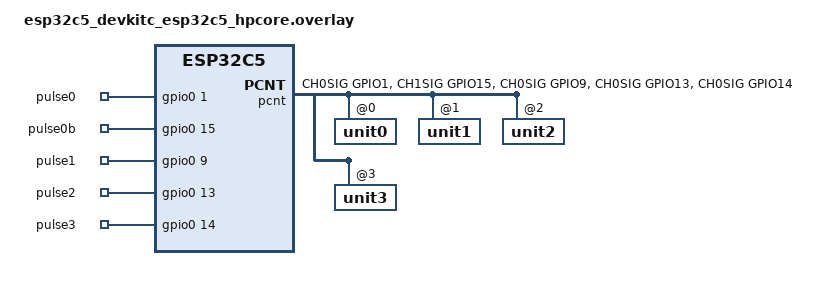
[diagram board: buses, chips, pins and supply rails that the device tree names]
/*
 * SPDX-License-Identifier: Apache-2.0
 *
 * Copyright (c) 2026 Espressif Systems (Shanghai) Co., Ltd.
 *
 * ESP32-C5 DevKitC self-loopback test overlay.
 * Pulses GPIO1/9/13/14 drive PCNT units 0..3 CH0, GPIO15 drives unit 0 CH1.
 */

/ {
	aliases {
		qdec0 = &pcnt;
		pulse0 = &pulse0_alias;
		pulse0b = &pulse0b_alias;
		pulse1 = &pulse1_alias;
		pulse2 = &pulse2_alias;
		pulse3 = &pulse3_alias;
	};

	pulse_aliases {
		compatible = "gpio-keys";

		pulse0_alias: pulse0_alias {
			gpios = <&gpio0 1 GPIO_ACTIVE_HIGH>;
			label = "pulse0";
		};

		pulse0b_alias: pulse0b_alias {
			gpios = <&gpio0 15 GPIO_ACTIVE_HIGH>;
			label = "pulse0b";
		};

		pulse1_alias: pulse1_alias {
			gpios = <&gpio0 9 GPIO_ACTIVE_HIGH>;
			label = "pulse1";
		};

		pulse2_alias: pulse2_alias {
			gpios = <&gpio0 13 GPIO_ACTIVE_HIGH>;
			label = "pulse2";
		};

		pulse3_alias: pulse3_alias {
			gpios = <&gpio0 14 GPIO_ACTIVE_HIGH>;
			label = "pulse3";
		};
	};
};

&pinctrl {
	pcnt_default: pcnt_default {
		group1 {
			pinmux = <PCNT0_CH0SIG_GPIO1>,
				 <PCNT0_CH1SIG_GPIO15>,
				 <PCNT1_CH0SIG_GPIO9>,
				 <PCNT2_CH0SIG_GPIO13>,
				 <PCNT3_CH0SIG_GPIO14>;
		};
	};
};

&pcnt {
	pinctrl-0 = <&pcnt_default>;
	pinctrl-names = "default";
	status = "okay";
	#address-cells = <1>;
	#size-cells = <0>;

	unit0@0 {
		reg = <0>;
		#address-cells = <1>;
		#size-cells = <0>;
		counts-per-revolution = <400>;

		channelA@0 {
			reg = <0>;
			sig-pos-mode = <1>;
			sig-neg-mode = <0>;
			ctrl-h-mode = <0>;
			ctrl-l-mode = <0>;
		};

		channelB@1 {
			reg = <1>;
			sig-pos-mode = <2>;
			sig-neg-mode = <0>;
			ctrl-h-mode = <0>;
			ctrl-l-mode = <0>;
		};
	};

	unit1@1 {
		reg = <1>;
		#address-cells = <1>;
		#size-cells = <0>;

		channelA@0 {
			reg = <0>;
			sig-pos-mode = <1>;
			sig-neg-mode = <0>;
			ctrl-h-mode = <0>;
			ctrl-l-mode = <0>;
		};
	};

	unit2@2 {
		reg = <2>;
		#address-cells = <1>;
		#size-cells = <0>;
		high-limit = <10>;

		channelA@0 {
			reg = <0>;
			sig-pos-mode = <1>;
			sig-neg-mode = <0>;
			ctrl-h-mode = <0>;
			ctrl-l-mode = <0>;
		};
	};

	unit3@3 {
		reg = <3>;
		#address-cells = <1>;
		#size-cells = <0>;
		zero-cross-event;

		channelA@0 {
			reg = <0>;
			sig-pos-mode = <1>;
			sig-neg-mode = <0>;
			ctrl-h-mode = <0>;
			ctrl-l-mode = <0>;
		};
	};
};
